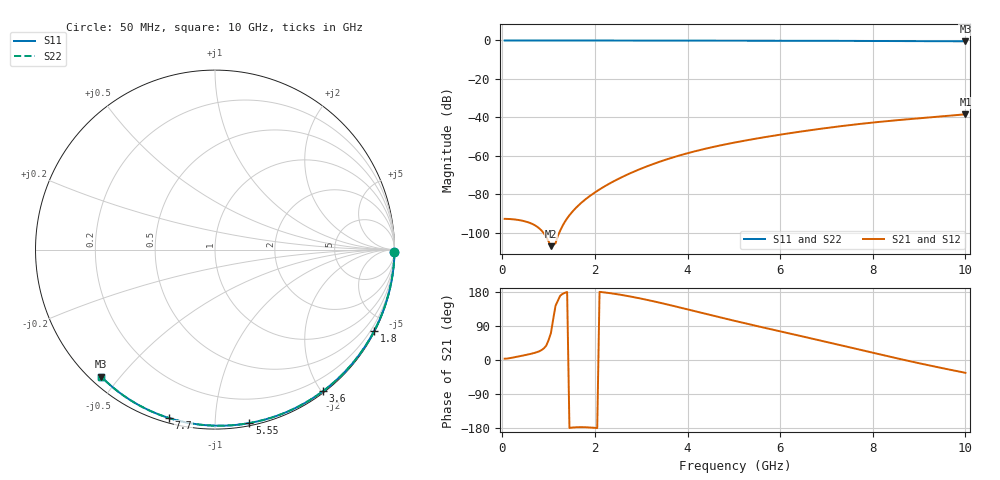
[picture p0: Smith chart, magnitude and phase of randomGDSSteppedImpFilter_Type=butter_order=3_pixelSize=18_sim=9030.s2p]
! freq	dB(S11)	phase(S11)	dB(S12)	phase(S12)
!  dB(S21)	phase(S21)	dB(S22)	phase(S22)
!S-par simulation data
#  GHz  S  DB  R 50
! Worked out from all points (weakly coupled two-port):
!   200 points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, 50 MHz to 10 GHz, reference 50 ohm
!   highest |S21| = -38.43 dB at 10 GHz (marker M1); lowest = -107.0 dB at 1.05 GHz (marker M2)
!   lowest |S11| = -0.4 dB at 10 GHz (marker M3), VSWR 39.06, Z = 1.54 - j22.3 ohm
!   |S11| at or under -10 dB: nowhere
!   |S22| runs from -0.4 to 0.0 dB; largest |S21 - S12| = 0
!   S11 on the Smith chart (normalised r, x): 50 MHz: open; 1.8 GHz: 0.04, -4.17; 3.6 GHz: 0.02, -2.02; 5.55 GHz: 0.02, -1.22; 7.7 GHz: 0.02, -0.76; 10 GHz: 0.03, -0.45
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0.05  -0.00 -0.8  -92.81 3.5  -92.81 3.5  -0.00 -0.8
0.55  -0.01 -8.3  -94.53 14.4  -94.53 14.4  -0.01 -8.3
1.05  -0.02 -15.9  -107.03 71.1  -107.03 71.1  -0.02 -15.9
1.75  -0.03 -26.2  -83.57 -177.3  -83.57 -177.3  -0.03 -26.2
1.8  -0.03 -27.0  -82.58 -177.5  -82.58 -177.5  -0.03 -27.0
1.95  -0.04 -29.2  -79.89 -178.5  -79.89 -178.5  -0.04 -29.2
2.25  -0.04 -33.6  -75.33 177.6  -75.33 177.6  -0.04 -33.6
2.55  -0.05 -37.9  -71.49 172.2  -71.49 172.2  -0.05 -37.9
2.95  -0.06 -43.6  -67.15 163.2  -67.15 163.2  -0.06 -43.6
3.4  -0.07 -50.0  -63.07 151.2  -63.07 151.2  -0.07 -50.0
3.6  -0.07 -52.8  -61.49 145.5  -61.49 145.5  -0.07 -52.8
3.9  -0.08 -56.9  -59.33 136.6  -59.33 136.6  -0.08 -56.9
4.25  -0.09 -61.7  -57.11 126.1  -57.11 126.1  -0.09 -61.7
4.65  -0.10 -67.0  -54.90 114.1  -54.90 114.1  -0.10 -67.0
5.05  -0.11 -72.3  -52.95 102.4  -52.95 102.4  -0.11 -72.3
5.55  -0.13 -78.8  -50.78 88.2  -50.78 88.2  -0.13 -78.8
6.1  -0.15 -85.8  -48.64 72.8  -48.64 72.8  -0.15 -85.8
6.7  -0.18 -93.2  -46.53 56.1  -46.53 56.1  -0.18 -93.2
7.7  -0.24 -105.3  -43.49 27.7  -43.49 27.7  -0.24 -105.3
8.35  -0.29 -112.9  -41.88 9.3  -41.88 9.3  -0.29 -112.9
9.15  -0.36 -122.1  -40.19 -12.5  -40.19 -12.5  -0.36 -122.1
10  -0.44 -131.9  -38.43 -33.8  -38.43 -33.8  -0.44 -131.9
